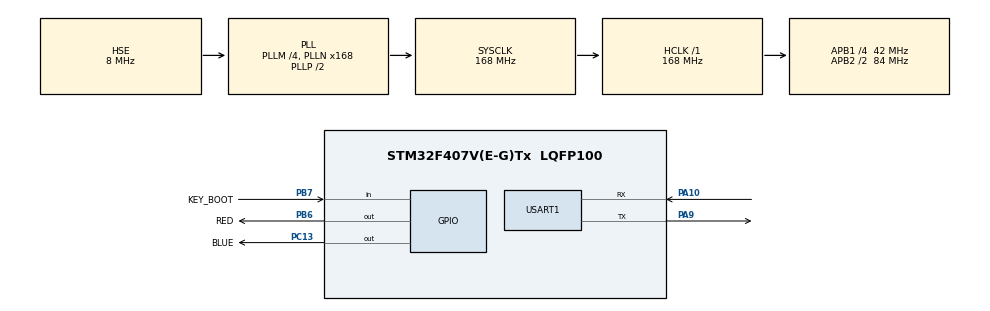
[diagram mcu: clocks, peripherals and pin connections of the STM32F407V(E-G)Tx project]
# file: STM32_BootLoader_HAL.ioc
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Mcu.Family=STM32F4
Mcu.Name=STM32F407V(E-G)Tx
Mcu.Package=LQFP100
NVIC.PriorityGroup=NVIC_PRIORITYGROUP_4
PA10.Mode=Asynchronous
PA10.Signal=USART1_RX
PA13.Mode=Serial_Wire
PA13.Signal=SYS_JTMS-SWDIO
PA14.Mode=Serial_Wire
PA14.Signal=SYS_JTCK-SWCLK
PA9.Mode=Asynchronous
PA9.Signal=USART1_TX
PB6.GPIO_Label=RED
PB6.Signal=GPIO_Output
PB7.GPIO_Label=KEY_BOOT
PB7.Signal=GPIO_Input
PC13-ANTI_TAMP.GPIO_Label=BLUE
PC13-ANTI_TAMP.Signal=GPIO_Output
PH0-OSC_IN.Mode=HSE-External-Oscillator
PH0-OSC_IN.Signal=RCC_OSC_IN
PH1-OSC_OUT.Mode=HSE-External-Oscillator
PH1-OSC_OUT.Signal=RCC_OSC_OUT
ProjectManager.HeapSize=0x200
ProjectManager.StackSize=0x400
ProjectManager.TargetToolchain=MDK-ARM V5
RCC.48MHZClocksFreq_Value=84000000
RCC.AHBFreq_Value=168000000
RCC.APB1CLKDivider=RCC_HCLK_DIV4
RCC.APB1Freq_Value=42000000
RCC.APB1TimFreq_Value=84000000
RCC.APB2CLKDivider=RCC_HCLK_DIV2
RCC.APB2Freq_Value=84000000
RCC.APB2TimFreq_Value=168000000
RCC.CortexFreq_Value=168000000
RCC.HCLKFreq_Value=168000000
RCC.HSE_VALUE=8000000
RCC.HSI_VALUE=16000000
RCC.LSE_VALUE=32768
RCC.PLLM=4
RCC.PLLN=168
RCC.PLLSourceVirtual=RCC_PLLSOURCE_HSE
RCC.SYSCLKFreq_VALUE=168000000
RCC.SYSCLKSource=RCC_SYSCLKSOURCE_PLLCLK
RCC.VCOOutputFreq_Value=336000000
USART1.VirtualMode=VM_ASYNC
board=custom

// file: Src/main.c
/* USER CODE BEGIN Header */
/**
  ******************************************************************************
  * @file           : main.c
  * @brief          : Main program body
  ******************************************************************************
  * @attention
  *
  * <h2><center>&copy; Copyright (c) 2019 STMicroelectronics.
  * All rights reserved.</center></h2>
  *
  * This software component is licensed by ST under BSD 3-Clause license,
  * the "License"; You may not use this file except in compliance with the
  * License. You may obtain a copy of the License at:
  *                        opensource.org/licenses/BSD-3-Clause
  *
  ******************************************************************************
  */
/* USER CODE END Header */

#include "main.h"

/* USER CODE BEGIN Includes */
#include "menu.h"
/* USER CODE END Includes */

UART_HandleTypeDef huart1;

/* USER CODE BEGIN PV */
extern pFunction JumpToApplication;
extern uint32_t JumpAddress;
uint8_t aRxBuffer;			//接收中断缓冲
uint8_t Uart1_RxBuff[256];		//接收缓冲
uint8_t Uart1_Rx_Cnt = 0;		//接收缓冲计数
/* USER CODE END PV */

void SystemClock_Config(void);
static void MX_GPIO_Init(void);
static void MX_USART1_UART_Init(void);

int main(void)
{

  /* MCU Configuration--------------------------------------------------------*/

  /* Reset of all peripherals, Initializes the Flash interface and the Systick. */
  HAL_Init();

  /* Configure the system clock */
  SystemClock_Config();

  /* Initialize all configured peripherals */
  MX_GPIO_Init();
  MX_USART1_UART_Init();
  /* USER CODE BEGIN 2 */
	if(HAL_GPIO_ReadPin(KEY_BOOT_GPIO_Port,KEY_BOOT_Pin))
	{
		HAL_GPIO_WritePin(BLUE_GPIO_Port,BLUE_Pin,GPIO_PIN_RESET);
		HAL_GPIO_WritePin(RED_GPIO_Port,RED_Pin,GPIO_PIN_SET);
		HAL_Delay(10);
		HAL_GPIO_WritePin(RED_GPIO_Port,RED_Pin,GPIO_PIN_RESET);
		RunApp();
	}
	else
	{
		HAL_UART_Transmit(&huart1,(uint8_t *)"the botton is down",18,0xff);
		HAL_GPIO_WritePin(BLUE_GPIO_Port,BLUE_Pin,GPIO_PIN_SET);
		Main_Menu();
	}
  /* USER CODE END 2 */

  /* Infinite loop */
  while (1)
  {

  }
}

void SystemClock_Config(void)
{
  RCC_OscInitTypeDef RCC_OscInitStruct = {0};
  RCC_ClkInitTypeDef RCC_ClkInitStruct = {0};

  /** Configure the main internal regulator output voltage
  */
  __HAL_RCC_PWR_CLK_ENABLE();
  __HAL_PWR_VOLTAGESCALING_CONFIG(PWR_REGULATOR_VOLTAGE_SCALE1);
  /** Initializes the CPU, AHB and APB busses clocks
  */
  RCC_OscInitStruct.OscillatorType = RCC_OSCILLATORTYPE_HSE;
  RCC_OscInitStruct.HSEState = RCC_HSE_ON;
  RCC_OscInitStruct.PLL.PLLState = RCC_PLL_ON;
  RCC_OscInitStruct.PLL.PLLSource = RCC_PLLSOURCE_HSE;
  RCC_OscInitStruct.PLL.PLLM = 4;
  RCC_OscInitStruct.PLL.PLLN = 168;
  RCC_OscInitStruct.PLL.PLLP = RCC_PLLP_DIV2;
  RCC_OscInitStruct.PLL.PLLQ = 4;
  if (HAL_RCC_OscConfig(&RCC_OscInitStruct) != HAL_OK)
  {
    Error_Handler();
  }
  /** Initializes the CPU, AHB and APB busses clocks
  */
  RCC_ClkInitStruct.ClockType = RCC_CLOCKTYPE_HCLK|RCC_CLOCKTYPE_SYSCLK
                              |RCC_CLOCKTYPE_PCLK1|RCC_CLOCKTYPE_PCLK2;
  RCC_ClkInitStruct.SYSCLKSource = RCC_SYSCLKSOURCE_PLLCLK;
  RCC_ClkInitStruct.AHBCLKDivider = RCC_SYSCLK_DIV1;
  RCC_ClkInitStruct.APB1CLKDivider = RCC_HCLK_DIV4;
  RCC_ClkInitStruct.APB2CLKDivider = RCC_HCLK_DIV2;

  if (HAL_RCC_ClockConfig(&RCC_ClkInitStruct, FLASH_LATENCY_5) != HAL_OK)
  {
    Error_Handler();
  }
}

static void MX_USART1_UART_Init(void)
{

  huart1.Instance = USART1;
  huart1.Init.BaudRate = 115200;
  huart1.Init.WordLength = UART_WORDLENGTH_8B;
  huart1.Init.StopBits = UART_STOPBITS_1;
  huart1.Init.Parity = UART_PARITY_NONE;
  huart1.Init.Mode = UART_MODE_TX_RX;
  huart1.Init.HwFlowCtl = UART_HWCONTROL_NONE;
  huart1.Init.OverSampling = UART_OVERSAMPLING_16;
  if (HAL_UART_Init(&huart1) != HAL_OK)
  {
    Error_Handler();
  }

}

static void MX_GPIO_Init(void)
{
  GPIO_InitTypeDef GPIO_InitStruct = {0};

  /* GPIO Ports Clock Enable */
  __HAL_RCC_GPIOC_CLK_ENABLE();
  __HAL_RCC_GPIOH_CLK_ENABLE();
  __HAL_RCC_GPIOA_CLK_ENABLE();
  __HAL_RCC_GPIOB_CLK_ENABLE();

  /*Configure GPIO pin Output Level */
  HAL_GPIO_WritePin(BLUE_GPIO_Port, BLUE_Pin, GPIO_PIN_RESET);

  /*Configure GPIO pin Output Level */
  HAL_GPIO_WritePin(RED_GPIO_Port, RED_Pin, GPIO_PIN_RESET);

  /*Configure GPIO pin : BLUE_Pin */
  GPIO_InitStruct.Pin = BLUE_Pin;
  GPIO_InitStruct.Mode = GPIO_MODE_OUTPUT_PP;
  GPIO_InitStruct.Pull = GPIO_NOPULL;
  GPIO_InitStruct.Speed = GPIO_SPEED_FREQ_LOW;
  HAL_GPIO_Init(BLUE_GPIO_Port, &GPIO_InitStruct);

  /*Configure GPIO pin : RED_Pin */
  GPIO_InitStruct.Pin = RED_Pin;
  GPIO_InitStruct.Mode = GPIO_MODE_OUTPUT_PP;
  GPIO_InitStruct.Pull = GPIO_NOPULL;
  GPIO_InitStruct.Speed = GPIO_SPEED_FREQ_LOW;
  HAL_GPIO_Init(RED_GPIO_Port, &GPIO_InitStruct);

  /*Configure GPIO pin : KEY_BOOT_Pin */
  GPIO_InitStruct.Pin = KEY_BOOT_Pin;
  GPIO_InitStruct.Mode = GPIO_MODE_INPUT;
  GPIO_InitStruct.Pull = GPIO_NOPULL;
  HAL_GPIO_Init(KEY_BOOT_GPIO_Port, &GPIO_InitStruct);

}

void Error_Handler(void)
{
}

/************************ (C) COPYRIGHT STMicroelectronics *****END OF FILE****/
